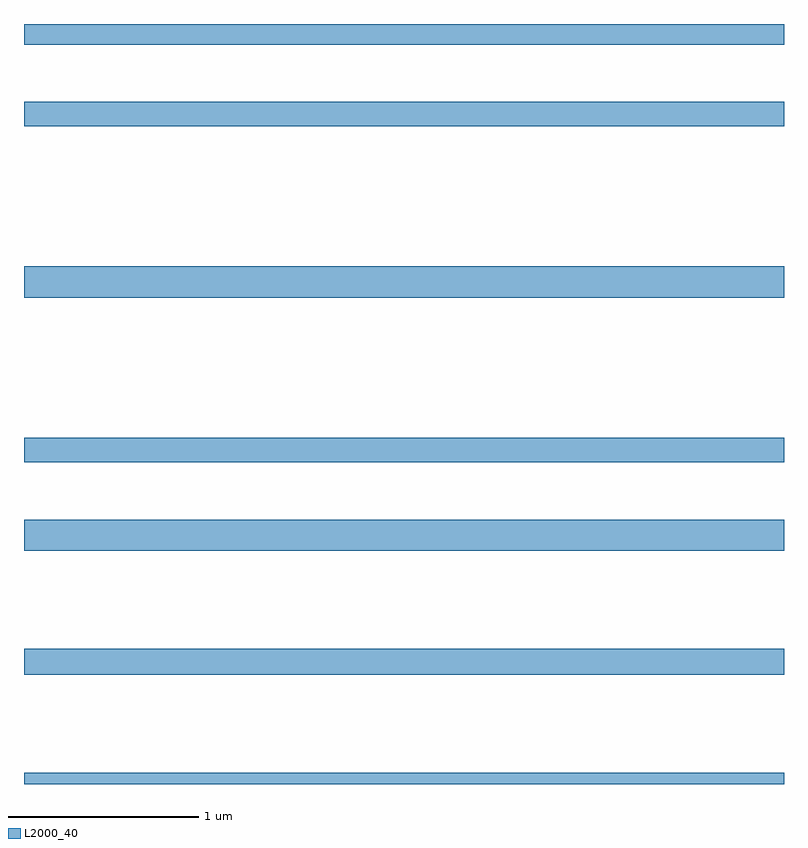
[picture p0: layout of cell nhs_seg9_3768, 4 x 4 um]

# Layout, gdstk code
import gdstk
lib = gdstk.Library(unit=1e-6, precision=1e-09)
def R(c, l, rs):  # rectangles x0, y0, x1, y1
    for r in rs: c.add(gdstk.rectangle(r[:2], r[2:], *l))
L2000_40 = (2000, 40)

nhs_seg9_3768 = lib.new_cell('nhs_seg9_3768')
R(nhs_seg9_3768, L2000_40, [(325,1220.5,329,1220.56), (325,1221.076,329,1221.212), (325,1221.728,329,1221.892), (325,1222.194,329,1222.322), (325,1223.06,329,1223.224), (325,1223.962,329,1224.091), (325,1224.392,329,1224.5)])

lib.write_gds('nhs_seg9_3768.gds')
